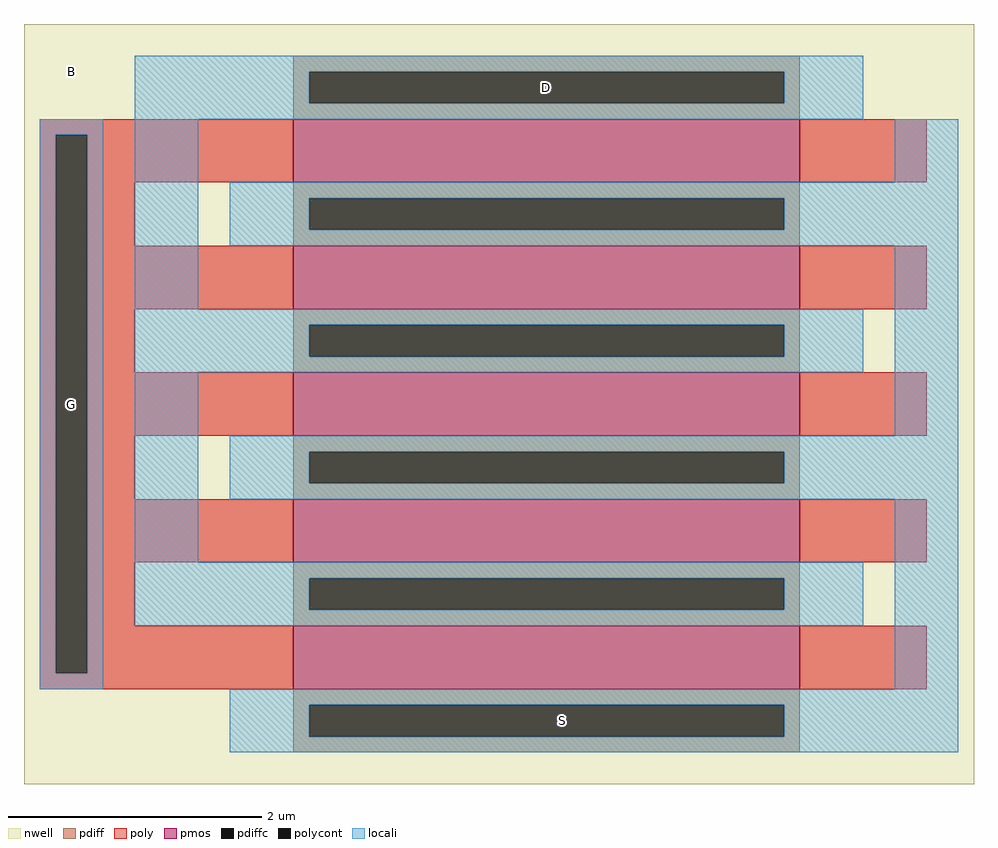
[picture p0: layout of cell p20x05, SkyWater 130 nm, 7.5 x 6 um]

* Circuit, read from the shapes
.subckt p20x05 D G S B
XM1 D G S B sky130_fd_pr__pfet_01v8 w=4 l=0.5 m=5
.ends

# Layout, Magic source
magic
tech sky130A
magscale 1 2
<< nwell >>
rect 2475 450 3975 1650
<< pmos >>
rect 2900 1400 3700 1500
rect 2900 1200 3700 1300
rect 2900 1000 3700 1100
rect 2900 800 3700 900
rect 2900 600 3700 700
<< pdiff >>
rect 2900 1575 3700 1600
rect 2900 1525 2925 1575
rect 3675 1525 3700 1575
rect 2900 1500 3700 1525
rect 2900 1375 3700 1400
rect 2900 1325 2925 1375
rect 3675 1325 3700 1375
rect 2900 1300 3700 1325
rect 2900 1175 3700 1200
rect 2900 1125 2925 1175
rect 3675 1125 3700 1175
rect 2900 1100 3700 1125
rect 2900 975 3700 1000
rect 2900 925 2925 975
rect 3675 925 3700 975
rect 2900 900 3700 925
rect 2900 775 3700 800
rect 2900 725 2925 775
rect 3675 725 3700 775
rect 2900 700 3700 725
rect 2900 575 3700 600
rect 2900 525 2925 575
rect 3675 525 3700 575
rect 2900 500 3700 525
<< pdiffc >>
rect 2925 1525 3675 1575
rect 2925 1325 3675 1375
rect 2925 1125 3675 1175
rect 2925 925 3675 975
rect 2925 725 3675 775
rect 2925 525 3675 575
<< poly >>
rect 2500 1475 2900 1500
rect 2500 625 2525 1475
rect 2575 1400 2900 1475
rect 3700 1400 3900 1500
rect 2575 1300 2650 1400
rect 2575 1200 2900 1300
rect 3700 1200 3900 1300
rect 2575 1100 2650 1200
rect 2575 1000 2900 1100
rect 3700 1000 3900 1100
rect 2575 900 2650 1000
rect 2575 800 2900 900
rect 3700 800 3900 900
rect 2575 700 2650 800
rect 2575 625 2900 700
rect 2500 600 2900 625
rect 3700 600 3900 700
<< polycont >>
rect 2525 625 2575 1475
<< locali >>
rect 2650 1575 3800 1600
rect 2650 1525 2925 1575
rect 3675 1525 3800 1575
rect 2650 1500 3800 1525
rect 2500 1475 2600 1500
rect 2500 625 2525 1475
rect 2575 625 2600 1475
rect 2650 1200 2750 1500
rect 3850 1400 3950 1500
rect 2800 1375 3950 1400
rect 2800 1325 2925 1375
rect 3675 1325 3950 1375
rect 2800 1300 3950 1325
rect 2650 1175 3800 1200
rect 2650 1125 2925 1175
rect 3675 1125 3800 1175
rect 2650 1100 3800 1125
rect 2650 800 2750 1100
rect 3850 1000 3950 1300
rect 2800 975 3950 1000
rect 2800 925 2925 975
rect 3675 925 3950 975
rect 2800 900 3950 925
rect 2650 775 3800 800
rect 2650 725 2925 775
rect 3675 725 3800 775
rect 2650 700 3800 725
rect 2500 600 2600 625
rect 3850 600 3950 900
rect 2800 575 3950 600
rect 2800 525 2925 575
rect 3675 525 3950 575
rect 2800 500 3950 525
<< labels >>
flabel pdiffc 3300 1550 3300 1550 0 FreeSans 800 0 0 0 D
port 0 nsew
flabel polycont 2550 1050 2550 1050 0 FreeSans 800 0 0 0 G
port 1 nsew
flabel pdiffc 3325 550 3325 550 0 FreeSans 800 0 0 0 S
port 2 nsew
flabel nwell 2550 1575 2550 1575 0 FreeSans 800 0 0 0 B
port 3 nsew
<< properties >>
string p20x05 parameters
<< end >>
